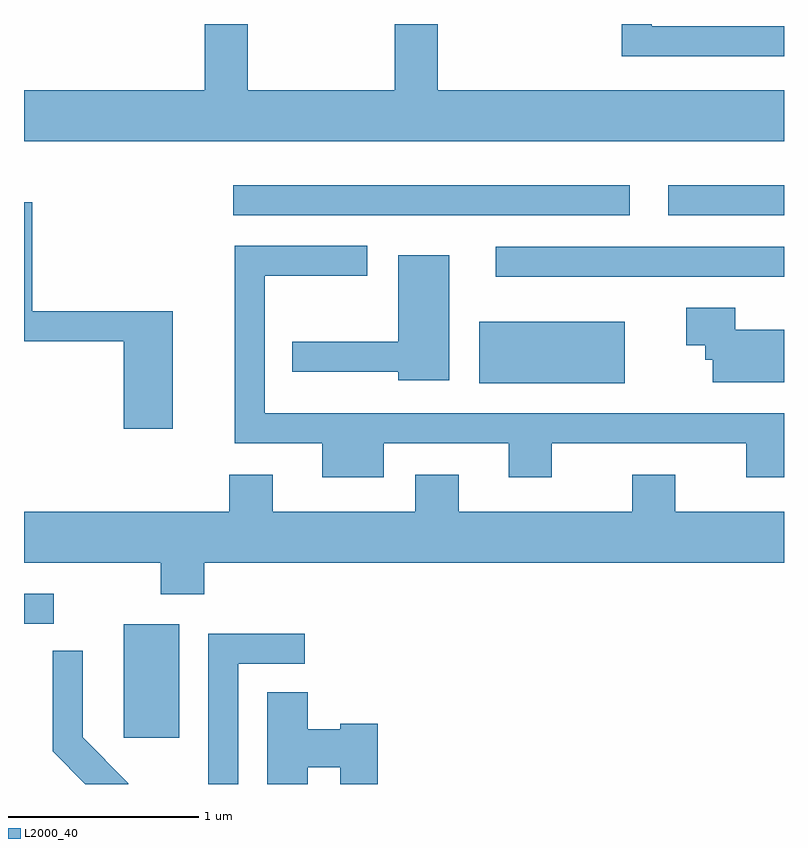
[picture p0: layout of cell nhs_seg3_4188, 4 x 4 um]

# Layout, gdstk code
import gdstk
lib = gdstk.Library(unit=1e-6, precision=1e-09)
def R(c, l, rs):  # rectangles x0, y0, x1, y1
    for r in rs: c.add(gdstk.rectangle(r[:2], r[2:], *l))
def P(c, l, *ps):  # polygons
    for p in ps: c.add(gdstk.Polygon(p, *l))
L2000_40 = (2000, 40)

nhs_seg3_4188 = lib.new_cell('nhs_seg3_4188')
R(nhs_seg3_4188, L2000_40, [(308.136,1196.136,308.429,1196.734), (307.611,1196.736,307.768,1196.894), (310.006,1198.001,310.774,1198.324), (310.093,1198.561,311.611,1198.719), (308.713,1198.886,310.798,1199.044), (311.003,1198.886,311.611,1199.044)])
P(nhs_seg3_4188, L2000_40, [(311.611,1199.544),(309.789,1199.544),(309.789,1199.892),(309.561,1199.892),(309.561,1199.544),(308.789,1199.544),(308.789,1199.892),(308.561,1199.892),(308.561,1199.544),(307.611,1199.544),(307.611,1199.276),(311.611,1199.276)],
  [(311.611,1199.879),(310.914,1199.879),(310.914,1199.892),(310.756,1199.892),(310.756,1199.721),(311.611,1199.721)],
  [(308.394,1198.379),(307.654,1198.379),(307.654,1198.954),(307.611,1198.954),(307.611,1198.221),(308.136,1198.221),(308.136,1197.761),(308.394,1197.761)],
  [(309.504,1197.686),(310.161,1197.686),(310.161,1197.506),(310.389,1197.506),(310.389,1197.686),(311.411,1197.686),(311.411,1197.506),(311.611,1197.506),(311.611,1197.844),(308.879,1197.844),(308.879,1198.566),(309.418,1198.566),(309.418,1198.724),(308.721,1198.724),(308.721,1197.686),(309.181,1197.686),(309.181,1197.506),(309.504,1197.506)],
  [(309.849,1198.674),(309.581,1198.674),(309.581,1198.219),(309.023,1198.219),(309.023,1198.061),(309.581,1198.061),(309.581,1198.016),(309.849,1198.016)],
  [(311.611,1198.284),(311.354,1198.284),(311.354,1198.399),(311.096,1198.399),(311.096,1198.201),(311.196,1198.201),(311.196,1198.126),(311.236,1198.126),(311.236,1198.006),(311.611,1198.006)],
  [(308.559,1197.056),(311.611,1197.056),(311.611,1197.324),(311.039,1197.324),(311.039,1197.519),(310.811,1197.519),(310.811,1197.324),(309.899,1197.324),(309.899,1197.519),(309.671,1197.519),(309.671,1197.324),(308.919,1197.324),(308.919,1197.519),(308.691,1197.519),(308.691,1197.324),(307.611,1197.324),(307.611,1197.056),(308.331,1197.056),(308.331,1196.891),(308.559,1196.891)],
  [(308.739,1196.526),(309.088,1196.526),(309.088,1196.684),(308.581,1196.684),(308.581,1195.892),(308.739,1195.892)],
  [(308.159,1195.897),(307.919,1196.137),(307.919,1196.593),(307.761,1196.593),(307.761,1196.064),(307.933,1195.892),(308.159,1195.892)],
  [(309.104,1195.981),(309.276,1195.981),(309.276,1195.892),(309.474,1195.892),(309.474,1196.209),(309.276,1196.209),(309.276,1196.179),(309.104,1196.179),(309.104,1196.374),(308.891,1196.374),(308.891,1195.892),(309.104,1195.892)])

lib.write_gds('nhs_seg3_4188.gds')
